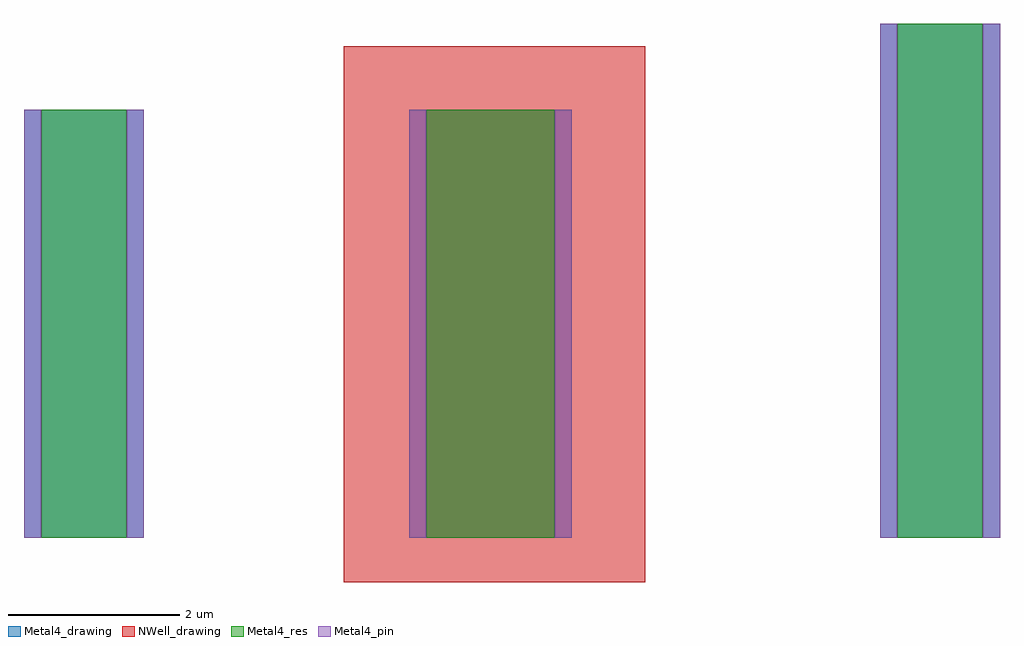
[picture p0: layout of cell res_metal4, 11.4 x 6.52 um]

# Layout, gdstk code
import gdstk
lib = gdstk.Library(unit=1e-6, precision=1e-09)
def R(c, l, rs):  # rectangles x0, y0, x1, y1
    for r in rs: c.add(gdstk.rectangle(r[:2], r[2:], *l))
NWell_drawing = (31, 0)
Metal4_drawing = (50, 0)
Metal4_pin = (50, 2)
Metal4_res = (50, 29)

res_metal4 = lib.new_cell('res_metal4')
R(res_metal4, NWell_drawing, [(3.032,-0.519,6.556,5.737)])
R(res_metal4, Metal4_drawing, [(-0.7,0,0.7,5), (-0.5,0,0.5,5), (3.8,0,5.2,5), (4.7,0,5.7,5), (9.3,0,10.7,6), (9.5,0,10.5,6)])
R(res_metal4, Metal4_pin, [(-0.7,0,-0.5,5), (0.5,0,0.7,5), (3.8,0,4,5), (5.5,0,5.7,5), (9.3,0,9.5,6), (10.5,0,10.7,6)])
R(res_metal4, Metal4_res, [(-0.5,0,0.5,5), (4,0,5.5,5), (9.5,0,10.5,6)])

lib.write_gds('res_metal4.gds')
